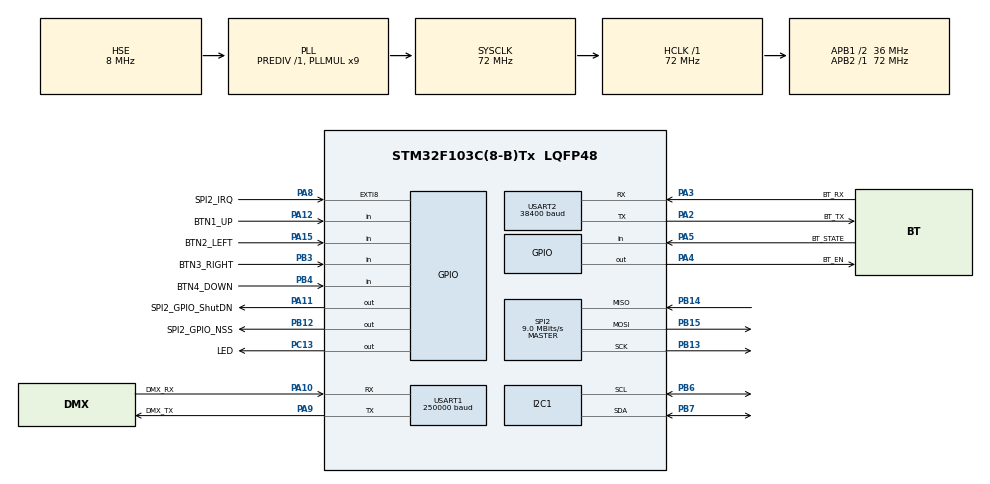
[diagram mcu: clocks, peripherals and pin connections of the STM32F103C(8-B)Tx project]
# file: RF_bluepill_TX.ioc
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Mcu.Family=STM32F1
Mcu.Name=STM32F103C(8-B)Tx
Mcu.Package=LQFP48
NVIC.EXTI9_5_IRQn=true\:0\:0\:false\:false\:true\:true\:true\:true
NVIC.PriorityGroup=NVIC_PRIORITYGROUP_4
NVIC.TIM2_IRQn=true\:0\:0\:false\:false\:true\:true\:true\:true
NVIC.TIM3_IRQn=true\:0\:0\:false\:false\:true\:true\:true\:true
NVIC.TIM4_IRQn=true\:0\:0\:false\:false\:true\:true\:true\:true
NVIC.USART1_IRQn=true\:0\:0\:false\:false\:true\:true\:true\:true
NVIC.USART2_IRQn=true\:0\:0\:false\:false\:true\:true\:true\:true
PA10.GPIO_Label=DMX_RX
PA10.Mode=Asynchronous
PA10.Signal=USART1_RX
PA11.GPIO_Label=SPI2_GPIO_ShutDN
PA11.Signal=GPIO_Output
PA12.GPIO_Label=BTN1_UP
PA12.Signal=GPIO_Input
PA13.Mode=Serial_Wire
PA13.Signal=SYS_JTMS-SWDIO
PA14.Mode=Serial_Wire
PA14.Signal=SYS_JTCK-SWCLK
PA15.GPIO_Label=BTN2_LEFT
PA15.Signal=GPIO_Input
PA2.GPIO_Label=BT_TX
PA2.Mode=Asynchronous
PA2.Signal=USART2_TX
PA3.GPIO_Label=BT_RX
PA3.Mode=Asynchronous
PA3.Signal=USART2_RX
PA4.GPIO_Label=BT_EN
PA4.Signal=GPIO_Output
PA5.GPIO_Label=BT_STATE
PA5.Signal=GPIO_Input
PA8.GPIO_Label=SPI2_IRQ
PA8.GPIO_ModeDefaultEXTI=GPIO_MODE_IT_FALLING
PA8.Signal=GPXTI8
PA9.GPIO_Label=DMX_TX
PA9.Mode=Asynchronous
PA9.Signal=USART1_TX
PB12.GPIO_Label=SPI2_GPIO_NSS
PB12.GPIO_PuPd=GPIO_PULLUP
PB12.GPIO_Speed=GPIO_SPEED_FREQ_MEDIUM
PB12.Signal=GPIO_Output
PB13.Mode=Full_Duplex_Master
PB13.Signal=SPI2_SCK
PB14.Mode=Full_Duplex_Master
PB14.Signal=SPI2_MISO
PB15.Mode=Full_Duplex_Master
PB15.Signal=SPI2_MOSI
PB3.GPIO_Label=BTN3_RIGHT
PB3.Signal=GPIO_Input
PB4.GPIO_Label=BTN4_DOWN
PB4.Signal=GPIO_Input
PB6.Mode=I2C
PB6.Signal=I2C1_SCL
PB7.Mode=I2C
PB7.Signal=I2C1_SDA
PC13-TAMPER-RTC.GPIO_Label=LED
PC13-TAMPER-RTC.Signal=GPIO_Output
PD0-OSC_IN.Mode=HSE-External-Oscillator
PD0-OSC_IN.Signal=RCC_OSC_IN
PD1-OSC_OUT.Mode=HSE-External-Oscillator
PD1-OSC_OUT.Signal=RCC_OSC_OUT
ProjectManager.HeapSize=0x200
ProjectManager.StackSize=0x400
ProjectManager.TargetToolchain=STM32CubeIDE
RCC.AHBFreq_Value=72000000
RCC.APB1CLKDivider=RCC_HCLK_DIV2
RCC.APB1Freq_Value=36000000
RCC.APB1TimFreq_Value=72000000
RCC.APB2Freq_Value=72000000
RCC.APB2TimFreq_Value=72000000
RCC.HCLKFreq_Value=72000000
RCC.PLLMUL=RCC_PLL_MUL9
RCC.PLLSourceVirtual=RCC_PLLSOURCE_HSE
RCC.SYSCLKFreq_VALUE=72000000
RCC.SYSCLKSource=RCC_SYSCLKSOURCE_PLLCLK
RCC.USBFreq_Value=72000000
SPI2.BaudRatePrescaler=SPI_BAUDRATEPRESCALER_4
SPI2.CalculateBaudRate=9.0 MBits/s
SPI2.Direction=SPI_DIRECTION_2LINES
SPI2.Mode=SPI_MODE_MASTER
SPI2.VirtualType=VM_MASTER
TIM2.Period=9999
TIM2.Prescaler=7199
TIM3.Period=29999
TIM3.Prescaler=7199
TIM4.Period=499
TIM4.Prescaler=7199
USART1.BaudRate=250000
USART1.StopBits=STOPBITS_2
USART1.VirtualMode=VM_ASYNC
USART2.BaudRate=38400
USART2.VirtualMode=VM_ASYNC
VP_TIM2_VS_ClockSourceINT.Mode=Internal
VP_TIM3_VS_ClockSourceINT.Mode=Internal
VP_TIM4_VS_ClockSourceINT.Mode=Internal
board=custom

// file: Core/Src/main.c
/* USER CODE BEGIN Header */
/**
  ******************************************************************************
  * @file           : main.c
  * @brief          : Main program body
  ******************************************************************************
  * @attention
  *
  * Copyright (c) 2025 STMicroelectronics.
  * All rights reserved.
  *
  * This software is licensed under terms that can be found in the LICENSE file
  * in the root directory of this software component.
  * If no LICENSE file comes with this software, it is provided AS-IS.
  *
  * Default packet structure:
  * 1st byte - receiver address (1; 2; 3; 4; 5; 6)
  * 2st byte - packet function (AA = CHANGE PARAMS; FF = Keep awake) //ToDo: Set new interval
  *
  ******************************************************************************
  */
/* USER CODE END Header */
#include "main.h"

/* USER CODE BEGIN Includes */
#include <string.h> //memcpy
#include <stdbool.h> //bool
#include "si4432.h"
#include "i2c_lcd.h"
#include "gui.h"
#include "flash_storage.h"
/* USER CODE END Includes */

/* USER CODE BEGIN PD */

//DATA PACKETS MARKS:
#define BROADCAST_PACKET_MARK 0xA1
#define INDIVIDUAL_PACKET_MARK 0xA2
#define DATA_MAX_PACKET_SIZE 33

#define AWAKE_PACKET_MARK 0xBB
#define AWAKE_PACKET_SIZE 2
//AWAKE_PACKET_PERIOD is defined by TIM3; 750ms by default

//DMX defines
#define DMX_PACKET_SIZE 513 //do not change
#define DMX_STARTBYTE 0 //defines what startbyte the receiver listens to; 0 default for light control by standard

#define BT_RECEIVE_BYTES 31 //NUM of bytes to receive from BT module;

//MOVED TO main.h
//#define NUM_COMMON_CHANNELS 1
//#define NUM_CHANNELS 5

I2C_LCD_HandleTypeDef lcd1;
/* USER CODE END PD */

I2C_HandleTypeDef hi2c1;

SPI_HandleTypeDef hspi2;

TIM_HandleTypeDef htim2;
TIM_HandleTypeDef htim3;
TIM_HandleTypeDef htim4;

UART_HandleTypeDef huart1;
UART_HandleTypeDef huart2;

/* USER CODE BEGIN PV */
//ToDo: Rozmístit do samostatných souborů DMX a RF
//ToDo: do mainu jako static

//VARIABLES
static uint8_t dataPacketSize = 8;		 //Current size of RF data packet
static uint8_t numOfReceivers = 1;		 //Number of receivers = number of uniquely addressable tubes (if 1, all share the same data)
static uint16_t currentDMXAddress=20; 	 	 //Current address of the DMX receiver
static uint8_t awakePacketID = 0;		 //ID of awake packet = the same as an ID of the last data packet
static uint8_t packetType=BROADCAST_PACKET_MARK; //Currently transmitted packetType
void (*active_mode_func)(void) = NULL;  //pointer to currently active mode startup function

static uint8_t rxBuff[DMX_PACKET_SIZE+1]; 	    //receive buffer for both DMX and bluetooth
static uint8_t dmxPacket[DMX_PACKET_SIZE]; 		//One received DMX packet
static uint8_t dmxPrevPacket[DMX_PACKET_SIZE]; 	//One previously received DMX packet
static uint8_t txBuff[DATA_MAX_PACKET_SIZE];		//Buffer for RF TX
static Mode_t currentMode = DMX512;
static Transmit_t currentTransmit = BROADCAST;
static GPIO_TypeDef* clickedButtonGPIO;
static uint16_t clickedButtonPin;
static uint8_t holdCount=0;

//the rest of variables is in main

//FLAGS:
static volatile bool dmxPacketRdy=false;   //DMX packet prepared for parsing
static volatile bool btPacketRdy=false;    //BT packet prepared for parsing
static volatile bool readyToTransmit=true; //Si4432 has finished previous transmission
static volatile bool dmxCopied=false;	   //DMX / BT packet is parsed
static volatile bool awakePacketRdy=0;	   //Time to send awake packet if 1
static volatile bool signalLostDMX=0;	   //Signal lost  if 1
static volatile bool debounceTimerFinished=false;

/* USER CODE END PV */

void SystemClock_Config(void);
static void MX_GPIO_Init(void);
static void MX_I2C1_Init(void);
static void MX_SPI2_Init(void);
static void MX_USART1_UART_Init(void);
static void MX_USART2_UART_Init(void);
static void MX_TIM2_Init(void);
static void MX_TIM3_Init(void);
static void MX_TIM4_Init(void);

/* USER CODE BEGIN 0 */
void HAL_TIM_PeriodElapsedCallback(TIM_HandleTypeDef *htim)
{
	//Timer for sending awakePackets (to keep devices informed about the presence of RF signal)
    if (htim->Instance == TIM2)
    {
    	awakePacketRdy=1;
    }
    //Checks if DMX signal is present
    if (htim->Instance == TIM3)
    {
    	signalLostDMX=1;
    }
    if (htim->Instance == TIM4)
    {
    	debounceTimerFinished=true;
    }
}

//---DMX receiving Callback---
void HAL_UARTEx_RxEventCallback(UART_HandleTypeDef *huart, uint16_t size)
{
	if(huart->Instance==USART1)
	{
		dmxPacketRdy=true;
		HAL_UARTEx_ReceiveToIdle_IT(&huart1, rxBuff, DMX_PACKET_SIZE); //Should be outside of NVIC callback
	}
	else if (huart->Instance==USART2)
	{
		btPacketRdy=true;
		HAL_UARTEx_ReceiveToIdle_IT(&huart2, rxBuff, BT_RECEIVE_BYTES);
	}
}
//---DMX receiving failed Callback---
void HAL_UART_ErrorCallback(UART_HandleTypeDef *huart)
{
    if (huart->Instance == USART1)
    {
    	dmxPacketRdy=false;
    	HAL_UART_AbortReceive(&huart1);
        HAL_UARTEx_ReceiveToIdle_IT(&huart1, rxBuff, DMX_PACKET_SIZE);
    }
    else if (huart->Instance == USART2)
    {
    	btPacketRdy=false;
    	HAL_UART_AbortReceive(&huart2);
        HAL_UARTEx_ReceiveToIdle_IT(&huart2, rxBuff, BT_RECEIVE_BYTES);
    }
}
//---RF EXTI Callback---
void HAL_GPIO_EXTI_Callback(uint16_t GPIO_Pin)
{
	//ToDo: edit and add commented code to enable receiving RF
	//EXTI for RF module (SI4432)
	//if (GPIO_Pin == GPIO_PIN_8)
	//{
        readyToTransmit=true;

        //What caused the interrupt?
		/*switch(b)
		{
		case(0b00000100): //TX done
				readyToTransmit=true;
				break;
		case(0b00000010): //RX done
				//rxDoneFlag=true; - in case of receiving
				break;
		}*/
	//}
}
void broadcast_mode()
{
	//Add STOP TIM?
	currentTransmit=BROADCAST;
	HAL_UART_AbortReceive(&huart1);
	HAL_UART_AbortReceive(&huart2);
	packetType=BROADCAST_PACKET_MARK;
	numOfReceivers=1;
	dataPacketSize=8;  //Should reapply values in app
	active_mode_func(); //Looks like it won't be needed
}

void individual_mode()
{
	currentTransmit=INDIVIDUAL;
	HAL_UART_AbortReceive(&huart1);
	HAL_UART_AbortReceive(&huart2);
	packetType=INDIVIDUAL_PACKET_MARK;
	numOfReceivers=6;
	dataPacketSize=33;
	//AUTOMATICALLY MOVES ADDRESS IF OUT OF BOUNDS FOR INDIVIDUAL MODE
	uint16_t bugfix = 512-(NUM_CHANNELS*numOfReceivers+NUM_COMMON_CHANNELS);
	if(currentDMXAddress>bugfix)
	{
		currentDMXAddress=bugfix;
	}
	active_mode_func();
}

void dmx_activate()
{
	currentMode=DMX512;
	active_mode_func = dmx_activate;
	HAL_UART_AbortReceive(&huart2);
	HAL_UARTEx_ReceiveToIdle_IT(&huart1, rxBuff, DMX_PACKET_SIZE);
	HAL_UARTEx_ReceiveToIdle_IT(&huart1, rxBuff, DMX_PACKET_SIZE);
	HAL_TIM_Base_Start_IT(&htim3);
	//gui_setScreen();
	//gui_drawBase();
	//lcd_gotoxy(&lcd1, 0, 1);
	//lcd_puts(&lcd1, "MODE: DMX512");
}
void bluetooth_activate()
{
	currentMode=BLUETOOTH;
	active_mode_func = bluetooth_activate;
	HAL_TIM_Base_Stop_IT(&htim3);
	HAL_UART_AbortReceive(&huart1);
	HAL_UARTEx_ReceiveToIdle_IT(&huart2, rxBuff, BT_RECEIVE_BYTES);
	HAL_UARTEx_ReceiveToIdle_IT(&huart2, rxBuff, BT_RECEIVE_BYTES);
	//gui_setScreen();
	//gui_drawBase();
	//lcd_gotoxy(&lcd1, 0, 1);
	//lcd_puts(&lcd1, "MODE: BLUETOOTH");
}

void bluetooth_at_commands()
{
	/*HAL_UART_Abort(&huart2);
	HAL_UART_DeInit(&huart2); //REMOVE COMMENTS IF CHANGING BAUD RATE (default AT=38400kbps)
	huart2.Init.BaudRate = 9600;
	if (HAL_UART_Init(&huart2) != HAL_OK)
	{
	    //inicializace neuspesna -> LCD
	}
	else
	{
		//inicializace uspesna
	}*/
	HAL_GPIO_WritePin(BT_EN_GPIO_Port, BT_EN_Pin, GPIO_PIN_SET);
	HAL_Delay(1000);
	//HAL_UART_Transmit(&huart2, "AT\r\n", strlen("AT\r\n"), 100);
	HAL_Delay(500);
	HAL_UART_Transmit(&huart2, "AT+NAME=LightTube\r\n", strlen("AT+NAME=LightTube\r\n"), 100);
	HAL_Delay(500);
	HAL_UART_Transmit(&huart2, "AT+CLASS=0x0\r\n", strlen("AT+CLASS=0x0\r\n"), 100);
	HAL_Delay(500);
	HAL_UART_Transmit(&huart2, "AT+UART=38400,0,0\r\n", strlen("AT+UART=38400,0,0\r\n"), 100);
	HAL_Delay(500);
	HAL_UART_Transmit(&huart2, "AT+PSWD=8182\r\n", strlen("AT+PSWD=8182\r\n"), 100);
	HAL_Delay(1000);
	HAL_GPIO_WritePin(BT_EN_GPIO_Port, BT_EN_Pin, GPIO_PIN_RESET);
	lcd_puts(&lcd1, "DONE");
	/*HAL_Delay(1000);
	HAL_UART_DeInit(&huart2);
	huart2.Init.BaudRate = 38400;
	if (HAL_UART_Init(&huart2) != HAL_OK)
	{
	    //inicializace neuspesna -> LCD
	}
	else
	{
		//inicializace uspesna
	}*/

}
void load_settings_from_EEPROM()
{
	uint16_t address;
	Mode_t mode;
	Transmit_t transmit;
	flash_loadSettings(&address, &mode, &transmit);

	currentDMXAddress=address;
	if(mode==DMX512)
		dmx_activate();
	else
		bluetooth_activate();
	if(transmit==BROADCAST)
		broadcast_mode();
	else
		individual_mode();
}

//For TUBE IDENTIFY BLUETOOTH must be set or DMX signal (not changing values) must be plugged into the transmitter
void identify_tube_address() //ToDo: implement as a custom packet
{
	/*for(uint8_t i=4; i<dataPacketSize; i=i+4)
	{
		txBuff[i]=250;
	}*/
	txBuff[6]=250;
	while(readyToTransmit!=true)
	{

	}
	awakePacketID+=1;
	txBuff[0]=BROADCAST_PACKET_MARK;
	txBuff[1]=awakePacketID;
	uint8_t b; //jen pro reset 0x03 registru
	SI44_Read(0x04, &b, 1);
	SI44_Read(0x03, &b, 1);
	SI44_SendPacket(txBuff, dataPacketSize);
	readyToTransmit=false;
}

void reset_timer(TIM_HandleTypeDef *htim)
{
	__HAL_TIM_SET_COUNTER(htim, 0);
}

/* USER CODE END 0 */

int main(void)
{

  /* MCU Configuration--------------------------------------------------------*/

  /* Reset of all peripherals, Initializes the Flash interface and the Systick. */
  HAL_Init();

  /* Configure the system clock */
  SystemClock_Config();

  /* Initialize all configured peripherals */
  MX_GPIO_Init();
  MX_I2C1_Init();
  MX_SPI2_Init();
  MX_USART1_UART_Init();
  MX_USART2_UART_Init();
  MX_TIM2_Init();
  MX_TIM3_Init();
  MX_TIM4_Init();
  /* USER CODE BEGIN 2 */

  //---LCD---
  HAL_Delay(100);
  lcd1.hi2c = &hi2c1;
  lcd1.address = (0x27 << 1);
  lcd_init(&lcd1);
  HAL_Delay(100);
  lcd_gotoxy(&lcd1,0,0);
  lcd_puts(&lcd1, "LightTube");
  lcd_gotoxy(&lcd1, 3, 1);
  lcd_puts(&lcd1, "-LOADING-");

  //---Initialize:---
  //---SI4432---
  HAL_GPIO_WritePin(SPI2_GPIO_ShutDN_GPIO_Port, SPI2_GPIO_ShutDN_Pin, GPIO_PIN_RESET);
  HAL_Delay(10);
  SI44_Init(&hspi2, SPI2_GPIO_NSS_GPIO_Port, SPI2_GPIO_NSS_Pin); //beware - changes have been made!
  HAL_Delay(10); //ToDo: zkratit
  SI44_PresetConfig();
  HAL_Delay(50);
  //SI44_SetAGCMode(0b00100000); //6th bit - sgin - for RX side
  SI44_SetInterrupts1(0b00000100); //1st bit = CRC error
  HAL_Delay(5);
  SI44_SetInterrupts2(0b00000000);
  HAL_Delay(5);
  SI44_SetModuleAntenna();
  HAL_Delay(5);
  SI44_SetTXPower(SI44_TX_POWER_20dBm);
  HAL_Delay(100);

  //---DMX receiving---
  //ALERT! musí být offset u rxBuff - a! pravděpodobně mi nultý paket  blbě vysílá vysílač nebo blbě přijímá přijímač - na bakalářce jsem to neměl jak zkusit

  //---Variables---
  //
  load_settings_from_EEPROM();
  gui_init(&currentMode, &currentTransmit, &currentDMXAddress, &lcd1, &numOfReceivers);
  gui_setScreen();
  HAL_TIM_Base_Start_IT(&htim2);
  //individual_mode();

  //dmx_activate();
  //broadcast_mode();

  /* USER CODE END 2 */

  /* Infinite loop */
  /* USER CODE BEGIN WHILE */

  while (1)
  {
	  //ToDo: Do solo souboru
	  //ToDo: Prohazovat kam se ukládá

	  //---DMX parsing---
	  if(dmxPacketRdy==true)
	  {
		  dmxPacketRdy=false;
		  reset_timer(&htim3);
		  memcpy(dmxPrevPacket, dmxPacket, DMX_PACKET_SIZE);
		  //__disable_irq(); //The packet shouldn't be rewritten by DMX_IT while copying
		  memcpy(&dmxPacket[0], &rxBuff[0], DMX_PACKET_SIZE);
		  //__enable_irq();
		  for(uint16_t i=currentDMXAddress; i<currentDMXAddress+(NUM_CHANNELS*numOfReceivers+NUM_COMMON_CHANNELS); i++)
		  //for(uint16_t i=0; i<6; i++)
		  {
			  if(dmxPacket[i]!=dmxPrevPacket[i])//if the packet has changed
			  {
				  dmxCopied=true;
				  break;
			  }
		  }
		  //char uartBuf[50];
		  //int len = sprintf(uartBuf, "DMX:%d %d %d\r\n", dmxPacket[1], dmxPacket[2], dmxPacket[3]);
		  //HAL_UART_Transmit_IT(&huart1, (uint8_t*)uartBuf, len);
	  }

	  //---BT parsing---
	  if(btPacketRdy==true)
	  {
		  btPacketRdy=false;
		  memcpy(&dmxPrevPacket[1], &dmxPacket[1], NUM_CHANNELS*numOfReceivers+NUM_COMMON_CHANNELS);
		  memcpy(&dmxPacket[1], &rxBuff[0], NUM_CHANNELS*numOfReceivers+NUM_COMMON_CHANNELS);
		  for(uint16_t i=1; i<=NUM_CHANNELS*numOfReceivers+NUM_COMMON_CHANNELS; i++)
		  //for(uint16_t i=0; i<6; i++)
		  {
			  if(dmxPacket[i]!=dmxPrevPacket[i])//if the packet has changed
			  {
				  dmxCopied=true;
				  break;
			  }
		  }
		  //char uartBuf[50];
		  //int len = sprintf(uartBuf, "DMX:%d %d %d\r\n", dmxPacket[1], dmxPacket[2], dmxPacket[3]);
		  //HAL_UART_Transmit_IT(&huart1, (uint8_t*)uartBuf, len);
	  }

	  //---DATA PACKET SENDING---
	  if(readyToTransmit==true&&dmxCopied==true)
	  {
		  uint8_t b; //jen pro reset 0x03 registru
		  SI44_Read(0x04, &b, 1);
		  SI44_Read(0x03, &b, 1); //jinak by uz neaktivoval IRQ

		  awakePacketID+=1;
		  txBuff[0]=packetType;
		  txBuff[1]=awakePacketID; //Todo: ZPOŽDĚNÍ NA STRANĚ VYSÍLAČE?

		  dmxCopied=false;

		  if (currentMode == DMX512)
		  {
			  memcpy(&txBuff[2], &dmxPacket[currentDMXAddress], NUM_CHANNELS*numOfReceivers+NUM_COMMON_CHANNELS);
		  }
		  else if (currentMode == BLUETOOTH)
		  {
			  memcpy(&txBuff[2], &dmxPacket[1], NUM_CHANNELS*numOfReceivers+NUM_COMMON_CHANNELS);
		  }
		  SI44_SendPacket(txBuff, dataPacketSize); //ToDo: dataPacketSize - vyjadrit v definech a numOfReceivers

		  readyToTransmit=false;
		  //char uartBuf[50];
		  //int len = sprintf(uartBuf, "%d %d %d\r\n", txBuff[1], txBuff[2], txBuff[3]);
		  //HAL_UART_Transmit_IT(&huart1, (uint8_t*)uartBuf, len);

		  //HAL_UART_Transmit_IT(&huart3, (uint8_t*)uartBuf, len);

	  }
	  //---AWAKE PACKET SEND---
	  if(readyToTransmit==true&&awakePacketRdy==1)
	  {
		  awakePacketRdy=0;
		  uint8_t b; //jen pro reset 0x03 registru
		  SI44_Read(0x04, &b, 1);
		  SI44_Read(0x03, &b, 1); //jinak by uz neaktivoval IRQ

		  txBuff[0]=AWAKE_PACKET_MARK;
		  txBuff[1]=awakePacketID;

		  SI44_SendPacket(txBuff, AWAKE_PACKET_SIZE);
		  readyToTransmit=false;
	  }
	  //---SIGNAL LOST PACKET SEND---
	  if(readyToTransmit==true&&signalLostDMX==1)
	  {
		  signalLostDMX=0;
		  awakePacketID+=1;
		  txBuff[0]=packetType;
		  txBuff[1]=awakePacketID;
		  for(uint8_t i=2; i<NUM_CHANNELS*numOfReceivers+NUM_COMMON_CHANNELS+2; i++)
		  {
			  txBuff[i]=0;
		  }
		  SI44_SendPacket(txBuff, dataPacketSize);
	  }

	 //---BUTTONS:----------------------------------------------------------
	  if(holdCount==0)
	  {
		  if(HAL_GPIO_ReadPin(BTN1_UP_GPIO_Port, BTN1_UP_Pin) == GPIO_PIN_RESET)
		  {
			  //dmx_activate();
			  //gui_buttonUp();
			  holdCount++;
			  clickedButtonGPIO=BTN1_UP_GPIO_Port;
			  clickedButtonPin=BTN1_UP_Pin;
			  reset_timer(&htim4);
			  HAL_TIM_Base_Start_IT(&htim4);
		  }
		  if(HAL_GPIO_ReadPin(BTN2_LEFT_GPIO_Port, BTN2_LEFT_Pin) == GPIO_PIN_RESET)
		  {
			  //broadcast_mode();
			  //gui_buttonLeft();
			  holdCount++;
			  clickedButtonGPIO=BTN2_LEFT_GPIO_Port;
			  clickedButtonPin=BTN2_LEFT_Pin;
			  reset_timer(&htim4);
			  HAL_TIM_Base_Start_IT(&htim4);
		  }
		  if(HAL_GPIO_ReadPin(BTN3_RIGHT_GPIO_Port, BTN3_RIGHT_Pin) == GPIO_PIN_RESET)
		  {
			  //individual_mode();
			  //gui_buttonRight();
			  holdCount++;
			  clickedButtonGPIO=BTN3_RIGHT_GPIO_Port;
			  clickedButtonPin=BTN3_RIGHT_Pin;
			  reset_timer(&htim4);
			  HAL_TIM_Base_Start_IT(&htim4);
		  }
		  if(HAL_GPIO_ReadPin(BTN4_DOWN_GPIO_Port, BTN4_DOWN_Pin) == GPIO_PIN_RESET)
		  {
			  //bluetooth_activate();
			  //gui_buttonDown();
			  holdCount++;
			  clickedButtonGPIO=BTN4_DOWN_GPIO_Port;
			  clickedButtonPin=BTN4_DOWN_Pin;
			  reset_timer(&htim4);
			  HAL_TIM_Base_Start_IT(&htim4);
		  }

	  }
	  //DEBOUNCE:
	  if(debounceTimerFinished==true)
	  {
		  HAL_TIM_Base_Stop_IT(&htim4);
		  debounceTimerFinished=false;
		  if(HAL_GPIO_ReadPin(clickedButtonGPIO, clickedButtonPin) == GPIO_PIN_SET)
		  {
			  //HAL_TIM_Base_Stop_IT(&htim4);
			  switch(clickedButtonPin)
			  {
			  case BTN1_UP_Pin:
				  gui_buttonUp();
				  break;
			  case BTN2_LEFT_Pin:
				  gui_buttonLeft();
			  	  break;
			  case BTN3_RIGHT_Pin:
				  gui_buttonRight();
				  break;
			  case BTN4_DOWN_Pin:
				  gui_buttonDown();
				  break;
			  }
			  holdCount=0;
		  }
		  else
		  {
			  if(holdCount>15)
			  {
				  switch(clickedButtonPin)
				  {
				  case BTN1_UP_Pin:
					  gui_buttonUp();
					  break;
				  case BTN4_DOWN_Pin:
					  gui_buttonDown();
					  break;
				  }
			  }
			  else
			  {
				  holdCount++;
			  }
			  HAL_TIM_Base_Start_IT(&htim4);
		  }
	  }
    /* USER CODE END WHILE */

  }
}

void SystemClock_Config(void)
{
  RCC_OscInitTypeDef RCC_OscInitStruct = {0};
  RCC_ClkInitTypeDef RCC_ClkInitStruct = {0};

  /** Initializes the RCC Oscillators according to the specified parameters
  * in the RCC_OscInitTypeDef structure.
  */
  RCC_OscInitStruct.OscillatorType = RCC_OSCILLATORTYPE_HSE;
  RCC_OscInitStruct.HSEState = RCC_HSE_ON;
  RCC_OscInitStruct.HSEPredivValue = RCC_HSE_PREDIV_DIV1;
  RCC_OscInitStruct.HSIState = RCC_HSI_ON;
  RCC_OscInitStruct.PLL.PLLState = RCC_PLL_ON;
  RCC_OscInitStruct.PLL.PLLSource = RCC_PLLSOURCE_HSE;
  RCC_OscInitStruct.PLL.PLLMUL = RCC_PLL_MUL9;
  if (HAL_RCC_OscConfig(&RCC_OscInitStruct) != HAL_OK)
  {
    Error_Handler();
  }

  /** Initializes the CPU, AHB and APB buses clocks
  */
  RCC_ClkInitStruct.ClockType = RCC_CLOCKTYPE_HCLK|RCC_CLOCKTYPE_SYSCLK
                              |RCC_CLOCKTYPE_PCLK1|RCC_CLOCKTYPE_PCLK2;
  RCC_ClkInitStruct.SYSCLKSource = RCC_SYSCLKSOURCE_PLLCLK;
  RCC_ClkInitStruct.AHBCLKDivider = RCC_SYSCLK_DIV1;
  RCC_ClkInitStruct.APB1CLKDivider = RCC_HCLK_DIV2;
  RCC_ClkInitStruct.APB2CLKDivider = RCC_HCLK_DIV1;

  if (HAL_RCC_ClockConfig(&RCC_ClkInitStruct, FLASH_LATENCY_2) != HAL_OK)
  {
    Error_Handler();
  }
}

static void MX_I2C1_Init(void)
{

  hi2c1.Instance = I2C1;
  hi2c1.Init.ClockSpeed = 100000;
  hi2c1.Init.DutyCycle = I2C_DUTYCYCLE_2;
  hi2c1.Init.OwnAddress1 = 0;
  hi2c1.Init.AddressingMode = I2C_ADDRESSINGMODE_7BIT;
  hi2c1.Init.DualAddressMode = I2C_DUALADDRESS_DISABLE;
  hi2c1.Init.OwnAddress2 = 0;
  hi2c1.Init.GeneralCallMode = I2C_GENERALCALL_DISABLE;
  hi2c1.Init.NoStretchMode = I2C_NOSTRETCH_DISABLE;
  if (HAL_I2C_Init(&hi2c1) != HAL_OK)
  {
    Error_Handler();
  }

}

static void MX_SPI2_Init(void)
{

  /* SPI2 parameter configuration*/
  hspi2.Instance = SPI2;
  hspi2.Init.Mode = SPI_MODE_MASTER;
  hspi2.Init.Direction = SPI_DIRECTION_2LINES;
  hspi2.Init.DataSize = SPI_DATASIZE_8BIT;
  hspi2.Init.CLKPolarity = SPI_POLARITY_LOW;
  hspi2.Init.CLKPhase = SPI_PHASE_1EDGE;
  hspi2.Init.NSS = SPI_NSS_SOFT;
  hspi2.Init.BaudRatePrescaler = SPI_BAUDRATEPRESCALER_4;
  hspi2.Init.FirstBit = SPI_FIRSTBIT_MSB;
  hspi2.Init.TIMode = SPI_TIMODE_DISABLE;
  hspi2.Init.CRCCalculation = SPI_CRCCALCULATION_DISABLE;
  hspi2.Init.CRCPolynomial = 10;
  if (HAL_SPI_Init(&hspi2) != HAL_OK)
  {
    Error_Handler();
  }

}

static void MX_TIM2_Init(void)
{

  TIM_ClockConfigTypeDef sClockSourceConfig = {0};
  TIM_MasterConfigTypeDef sMasterConfig = {0};

  htim2.Instance = TIM2;
  htim2.Init.Prescaler = 7199;
  htim2.Init.CounterMode = TIM_COUNTERMODE_UP;
  htim2.Init.Period = 9999;
  htim2.Init.ClockDivision = TIM_CLOCKDIVISION_DIV1;
  htim2.Init.AutoReloadPreload = TIM_AUTORELOAD_PRELOAD_DISABLE;
  if (HAL_TIM_Base_Init(&htim2) != HAL_OK)
  {
    Error_Handler();
  }
  sClockSourceConfig.ClockSource = TIM_CLOCKSOURCE_INTERNAL;
  if (HAL_TIM_ConfigClockSource(&htim2, &sClockSourceConfig) != HAL_OK)
  {
    Error_Handler();
  }
  sMasterConfig.MasterOutputTrigger = TIM_TRGO_RESET;
  sMasterConfig.MasterSlaveMode = TIM_MASTERSLAVEMODE_DISABLE;
  if (HAL_TIMEx_MasterConfigSynchronization(&htim2, &sMasterConfig) != HAL_OK)
  {
    Error_Handler();
  }

}

static void MX_TIM3_Init(void)
{

  TIM_ClockConfigTypeDef sClockSourceConfig = {0};
  TIM_MasterConfigTypeDef sMasterConfig = {0};

  htim3.Instance = TIM3;
  htim3.Init.Prescaler = 7199;
  htim3.Init.CounterMode = TIM_COUNTERMODE_UP;
  htim3.Init.Period = 29999;
  htim3.Init.ClockDivision = TIM_CLOCKDIVISION_DIV1;
  htim3.Init.AutoReloadPreload = TIM_AUTORELOAD_PRELOAD_DISABLE;
  if (HAL_TIM_Base_Init(&htim3) != HAL_OK)
  {
    Error_Handler();
  }
  sClockSourceConfig.ClockSource = TIM_CLOCKSOURCE_INTERNAL;
  if (HAL_TIM_ConfigClockSource(&htim3, &sClockSourceConfig) != HAL_OK)
  {
    Error_Handler();
  }
  sMasterConfig.MasterOutputTrigger = TIM_TRGO_RESET;
  sMasterConfig.MasterSlaveMode = TIM_MASTERSLAVEMODE_DISABLE;
  if (HAL_TIMEx_MasterConfigSynchronization(&htim3, &sMasterConfig) != HAL_OK)
  {
    Error_Handler();
  }

}

static void MX_TIM4_Init(void)
{

  TIM_ClockConfigTypeDef sClockSourceConfig = {0};
  TIM_MasterConfigTypeDef sMasterConfig = {0};

  htim4.Instance = TIM4;
  htim4.Init.Prescaler = 7199;
  htim4.Init.CounterMode = TIM_COUNTERMODE_UP;
  htim4.Init.Period = 499;
  htim4.Init.ClockDivision = TIM_CLOCKDIVISION_DIV1;
  htim4.Init.AutoReloadPreload = TIM_AUTORELOAD_PRELOAD_DISABLE;
  if (HAL_TIM_Base_Init(&htim4) != HAL_OK)
  {
    Error_Handler();
  }
  sClockSourceConfig.ClockSource = TIM_CLOCKSOURCE_INTERNAL;
  if (HAL_TIM_ConfigClockSource(&htim4, &sClockSourceConfig) != HAL_OK)
  {
    Error_Handler();
  }
  sMasterConfig.MasterOutputTrigger = TIM_TRGO_RESET;
  sMasterConfig.MasterSlaveMode = TIM_MASTERSLAVEMODE_DISABLE;
  if (HAL_TIMEx_MasterConfigSynchronization(&htim4, &sMasterConfig) != HAL_OK)
  {
    Error_Handler();
  }

}

static void MX_USART1_UART_Init(void)
{

  huart1.Instance = USART1;
  huart1.Init.BaudRate = 250000;
  huart1.Init.WordLength = UART_WORDLENGTH_8B;
  huart1.Init.StopBits = UART_STOPBITS_2;
  huart1.Init.Parity = UART_PARITY_NONE;
  huart1.Init.Mode = UART_MODE_TX_RX;
  huart1.Init.HwFlowCtl = UART_HWCONTROL_NONE;
  huart1.Init.OverSampling = UART_OVERSAMPLING_16;
  if (HAL_UART_Init(&huart1) != HAL_OK)
  {
    Error_Handler();
  }

}

static void MX_USART2_UART_Init(void)
{

  huart2.Instance = USART2;
  huart2.Init.BaudRate = 38400;
  huart2.Init.WordLength = UART_WORDLENGTH_8B;
  huart2.Init.StopBits = UART_STOPBITS_1;
  huart2.Init.Parity = UART_PARITY_NONE;
  huart2.Init.Mode = UART_MODE_TX_RX;
  huart2.Init.HwFlowCtl = UART_HWCONTROL_NONE;
  huart2.Init.OverSampling = UART_OVERSAMPLING_16;
  if (HAL_UART_Init(&huart2) != HAL_OK)
  {
    Error_Handler();
  }

}

static void MX_GPIO_Init(void)
{
  GPIO_InitTypeDef GPIO_InitStruct = {0};

  /* GPIO Ports Clock Enable */
  __HAL_RCC_GPIOC_CLK_ENABLE();
  __HAL_RCC_GPIOD_CLK_ENABLE();
  __HAL_RCC_GPIOA_CLK_ENABLE();
  __HAL_RCC_GPIOB_CLK_ENABLE();

  /*Configure GPIO pin Output Level */
  HAL_GPIO_WritePin(LED_GPIO_Port, LED_Pin, GPIO_PIN_RESET);

  /*Configure GPIO pin Output Level */
  HAL_GPIO_WritePin(GPIOA, BT_EN_Pin|SPI2_GPIO_ShutDN_Pin, GPIO_PIN_RESET);

  /*Configure GPIO pin Output Level */
  HAL_GPIO_WritePin(SPI2_GPIO_NSS_GPIO_Port, SPI2_GPIO_NSS_Pin, GPIO_PIN_RESET);

  /*Configure GPIO pin : LED_Pin */
  GPIO_InitStruct.Pin = LED_Pin;
  GPIO_InitStruct.Mode = GPIO_MODE_OUTPUT_PP;
  GPIO_InitStruct.Pull = GPIO_NOPULL;
  GPIO_InitStruct.Speed = GPIO_SPEED_FREQ_LOW;
  HAL_GPIO_Init(LED_GPIO_Port, &GPIO_InitStruct);

  /*Configure GPIO pins : BT_EN_Pin SPI2_GPIO_ShutDN_Pin */
  GPIO_InitStruct.Pin = BT_EN_Pin|SPI2_GPIO_ShutDN_Pin;
  GPIO_InitStruct.Mode = GPIO_MODE_OUTPUT_PP;
  GPIO_InitStruct.Pull = GPIO_NOPULL;
  GPIO_InitStruct.Speed = GPIO_SPEED_FREQ_LOW;
  HAL_GPIO_Init(GPIOA, &GPIO_InitStruct);

  /*Configure GPIO pins : BT_STATE_Pin BTN1_UP_Pin BTN2_LEFT_Pin */
  GPIO_InitStruct.Pin = BT_STATE_Pin|BTN1_UP_Pin|BTN2_LEFT_Pin;
  GPIO_InitStruct.Mode = GPIO_MODE_INPUT;
  GPIO_InitStruct.Pull = GPIO_NOPULL;
  HAL_GPIO_Init(GPIOA, &GPIO_InitStruct);

  /*Configure GPIO pin : SPI2_GPIO_NSS_Pin */
  GPIO_InitStruct.Pin = SPI2_GPIO_NSS_Pin;
  GPIO_InitStruct.Mode = GPIO_MODE_OUTPUT_PP;
  GPIO_InitStruct.Pull = GPIO_PULLUP;
  GPIO_InitStruct.Speed = GPIO_SPEED_FREQ_MEDIUM;
  HAL_GPIO_Init(SPI2_GPIO_NSS_GPIO_Port, &GPIO_InitStruct);

  /*Configure GPIO pin : SPI2_IRQ_Pin */
  GPIO_InitStruct.Pin = SPI2_IRQ_Pin;
  GPIO_InitStruct.Mode = GPIO_MODE_IT_FALLING;
  GPIO_InitStruct.Pull = GPIO_NOPULL;
  HAL_GPIO_Init(SPI2_IRQ_GPIO_Port, &GPIO_InitStruct);

  /*Configure GPIO pins : BTN3_RIGHT_Pin BTN4_DOWN_Pin */
  GPIO_InitStruct.Pin = BTN3_RIGHT_Pin|BTN4_DOWN_Pin;
  GPIO_InitStruct.Mode = GPIO_MODE_INPUT;
  GPIO_InitStruct.Pull = GPIO_NOPULL;
  HAL_GPIO_Init(GPIOB, &GPIO_InitStruct);

  /* EXTI interrupt init*/
  HAL_NVIC_SetPriority(EXTI9_5_IRQn, 0, 0);
  HAL_NVIC_EnableIRQ(EXTI9_5_IRQn);

}

void Error_Handler(void)
{
  __disable_irq();
  while (1)
  {
  }
}
